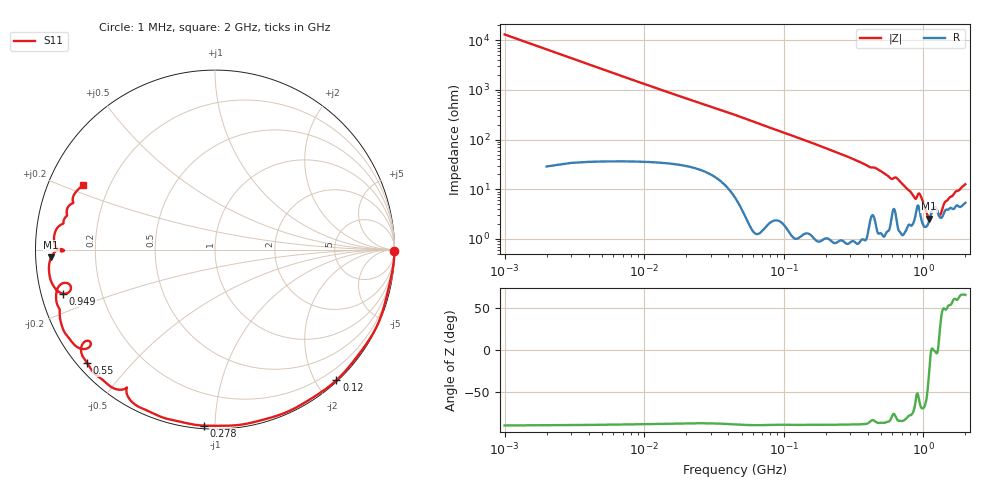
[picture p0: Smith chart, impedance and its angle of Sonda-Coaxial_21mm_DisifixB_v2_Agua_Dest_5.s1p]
! TOUCHSTONE file generated by CST MICROWAVE STUDIO
! Date and time: Tue Aug  4 15:55:28 2026
! Project name: Sonda-Coaxial_21mm_DisifixB_v2_Agua_Dest.cst
! Parameters = {h_recipiente=20; l_conector=5; r_arandela=35; r_ext=10.5; r_int=3; r_recipiente=50; z_recipiente=-40}
! Header version: 2018
! Port assignment regex: !\s*Touchstone port\s*([0-9]+)\s*=\s*(CST MWS port|CST DS port)\s*([0-9]+|Zmin|Zmax)\s*\(\"(.*)\"\)(\s*mode\s*([0-9]+))?.*
! Touchstone port assignment:
! Touchstone port 1 = CST MWS port 1 ("")
# GHz S RI R 50
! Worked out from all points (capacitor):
!   2000 points, 1 MHz to 2 GHz, reference 50 ohm
!   read as one part to ground: C = 11.9 pF near 11 MHz
!   lowest |Z| = 2.55 ohm at 1.098 GHz (marker M1)
!   series resonance near 1.142 GHz, so ESL is about 1.6 nH
!   S11 on the Smith chart (normalised r, x): 1 MHz: open; 120 MHz: 0.02, -2.30; 278 MHz: 0.02, -0.94; 550 MHz: 0.03, -0.38; 949 MHz: 0.06, -0.14; 2 GHz: 0.11, +0.23
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0.001  1 -0.00764
0.058  0.9147 -0.3972
0.12  0.6767 -0.7275
0.182  0.3742 -0.9155
0.251  0.0501 -0.9815
0.278  -0.0611 -0.9809
0.338  -0.282 -0.9383
0.397  -0.4646 -0.8469
0.423  -0.4929 -0.7754
0.445  -0.4993 -0.7747
0.501  -0.6316 -0.7212
0.55  -0.7117 -0.6326
0.598  -0.7265 -0.5133
0.625  -0.6938 -0.5341
0.654  -0.7632 -0.5457
0.751  -0.8633 -0.3847
0.848  -0.8852 -0.2533
0.887  -0.8486 -0.188
0.918  -0.8023 -0.2148
0.949  -0.8479 -0.2447
1.001  -0.9104 -0.1831
1.098  -0.9124 -0.0428
1.178  -0.8452 -0.000444
1.251  -0.8573 -0.00974
1.334  -0.8969 0.067
1.501  -0.8415 0.1668
1.751  -0.7893 0.2605
2  -0.7331 0.3589
